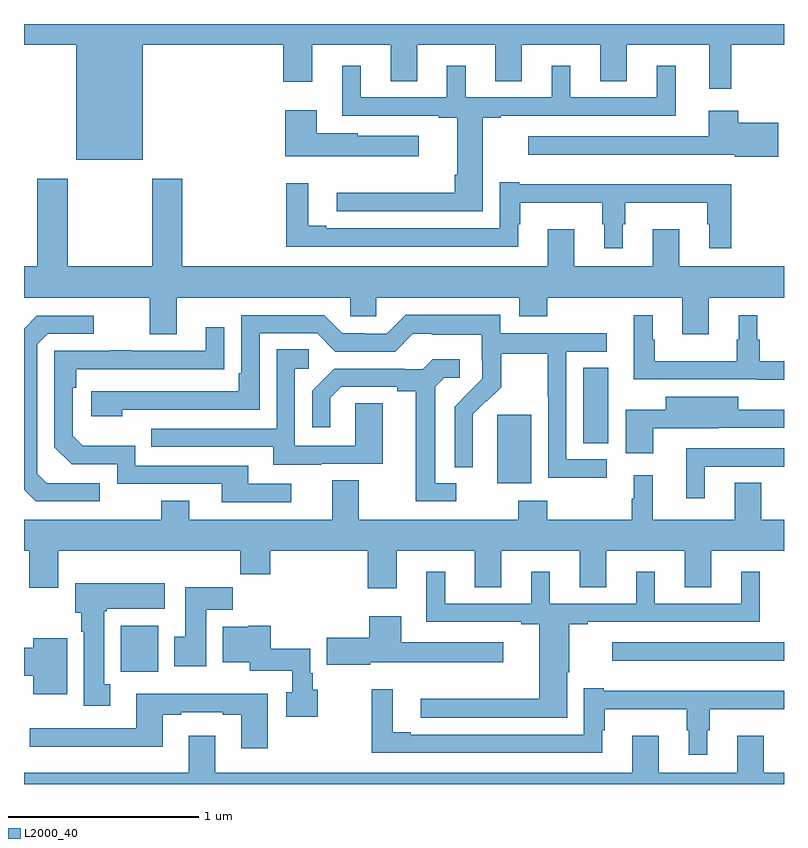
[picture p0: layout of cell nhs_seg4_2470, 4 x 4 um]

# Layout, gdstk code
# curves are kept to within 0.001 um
import gdstk
lib = gdstk.Library(unit=1e-6, precision=1e-09)
def R(c, l, rs):  # rectangles x0, y0, x1, y1
    for r in rs: c.add(gdstk.rectangle(r[:2], r[2:], *l))
def P(c, l, *ps):  # polygons
    for p in ps: c.add(gdstk.Polygon(p, *l))
L2000_40 = (2000, 40)

nhs_seg4_2470 = lib.new_cell('nhs_seg4_2470')
R(nhs_seg4_2470, L2000_40, [(239.51,821.492,239.707,821.734), (242.097,821.549,243,821.646), (241.49,822.482,241.669,822.843), (241.943,822.694,242.074,823.091)])
P(nhs_seg4_2470, L2000_40, [(239.626,824.792),(240.365,824.792),(240.365,824.595),(240.517,824.595),(240.517,824.792),(240.929,824.792),(240.929,824.599),(241.069,824.599),(241.069,824.792),(241.481,824.792),(241.481,824.599),(241.621,824.599),(241.621,824.792),(242.033,824.792),(242.033,824.599),(242.173,824.599),(242.173,824.792),(242.606,824.792),(242.606,824.559),(242.723,824.559),(242.723,824.792),(243,824.792),(243,824.9),(239,824.9),(239,824.792),(239.276,824.792),(239.276,824.186),(239.626,824.186)],
  [(241.414,824.406),(241.51,824.406),(241.51,824.418),(242.429,824.418),(242.429,824.68),(242.33,824.68),(242.33,824.514),(241.876,824.514),(241.876,824.68),(241.778,824.68),(241.778,824.514),(241.324,824.514),(241.324,824.68),(241.226,824.68),(241.226,824.514),(240.772,824.514),(240.772,824.68),(240.674,824.68),(240.674,824.418),(241.184,824.418),(241.184,824.406),(241.28,824.406),(241.28,824.107),(241.268,824.107),(241.268,824.012),(240.645,824.012),(240.645,823.914),(241.414,823.914)],
  [(241.078,824.311),(240.756,824.311),(240.756,824.326),(240.541,824.326),(240.541,824.446),(240.374,824.446),(240.374,824.204),(241.078,824.204)],
  [(242.971,824.379),(242.759,824.379),(242.759,824.443),(242.603,824.443),(242.603,824.31),(241.653,824.31),(241.653,824.213),(242.742,824.213),(242.742,824.201),(242.971,824.201)],
  [(239.803,823.46),(240.717,823.46),(240.717,823.362),(240.855,823.362),(240.855,823.46),(241.607,823.46),(241.607,823.361),(241.755,823.361),(241.755,823.46),(242.465,823.46),(242.465,823.266),(242.605,823.266),(242.605,823.46),(243,823.46),(243,823.624),(242.449,823.624),(242.449,823.819),(242.309,823.819),(242.309,823.624),(241.897,823.624),(241.897,823.819),(241.757,823.819),(241.757,823.624),(239.834,823.624),(239.834,824.086),(239.674,824.086),(239.674,823.624),(239.229,823.624),(239.229,824.086),(239.069,824.086),(239.069,823.624),(239,823.624),(239,823.46),(239.663,823.46),(239.663,823.266),(239.803,823.266)],
  [(242.152,823.847),(242.164,823.847),(242.164,823.958),(242.595,823.958),(242.595,823.847),(242.606,823.847),(242.606,823.719),(242.723,823.719),(242.723,824.056),(241.606,824.056),(241.606,824.068),(241.503,824.068),(241.503,823.824),(240.592,823.824),(240.592,823.837),(240.496,823.837),(240.496,824.062),(240.379,824.062),(240.379,823.728),(241.6,823.728),(241.6,823.847),(241.612,823.847),(241.612,823.958),(242.043,823.958),(242.043,823.847),(242.054,823.847),(242.054,823.719),(242.152,823.719)],
  [(242.068,822.609),(241.854,822.609),(241.854,823.176),(242.068,823.176),(242.068,823.272),(241.506,823.272),(241.506,823.369),(241.009,823.369),(240.909,823.269),(240.794,823.269),(240.794,823.272),(240.675,823.272),(240.579,823.368),(240.144,823.368),(240.144,823.063),(240.131,823.063),(240.131,822.966),(239.355,822.966),(239.355,822.836),(239.516,822.836),(239.516,822.87),(240.24,822.87),(240.24,823.272),(240.543,823.272),(240.639,823.176),(240.954,823.176),(241.047,823.269),(241.147,823.269),(241.147,823.265),(241.41,823.265),(241.41,823.131),(241.412,823.131),(241.412,823.034),(241.266,822.886),(241.266,822.568),(241.362,822.568),(241.361,822.845),(241.431,822.915),(241.434,822.912),(241.511,822.989),(241.511,823.164),(241.756,823.164),(241.756,822.94),(241.758,822.94),(241.758,822.511),(242.068,822.511)],
  [(243,823.126),(242.872,823.126),(242.872,823.238),(242.86,823.238),(242.86,823.366),(242.762,823.366),(242.762,823.238),(242.751,823.238),(242.751,823.126),(242.32,823.126),(242.32,823.238),(242.308,823.238),(242.308,823.366),(242.21,823.366),(242.21,823.029),(242.856,823.029),(242.856,823.028),(243,823.028)],
  [(239.398,822.483),(239.121,822.483),(239.07,822.534),(239.07,823.215),(239.124,823.269),(239.368,823.269),(239.368,823.365),(239.067,823.365),(239,823.297),(239,822.448),(239.061,822.387),(239.398,822.387)],
  [(240.406,822.48),(240.181,822.48),(240.181,822.576),(239.586,822.576),(239.586,822.679),(239.309,822.679),(239.256,822.732),(239.256,822.986),(239.276,822.986),(239.276,823.083),(240.053,823.084),(240.053,823.303),(239.957,823.303),(239.957,823.179),(239.567,823.179),(239.567,823.184),(239.455,823.184),(239.455,823.179),(239.16,823.179),(239.16,822.672),(239.25,822.582),(239.49,822.582),(239.49,822.48),(240.041,822.48),(240.041,822.384),(240.406,822.384)],
  [(240.565,822.585),(240.889,822.585),(240.889,822.905),(240.744,822.905),(240.744,822.681),(240.426,822.681),(240.426,823.086),(240.499,823.086),(240.499,823.187),(240.33,823.187),(240.33,822.771),(239.671,822.771),(239.671,822.675),(240.311,822.675),(240.311,822.581),(240.565,822.581)],
  [(241.276,822.483),(241.165,822.483),(241.165,822.991),(241.212,823.038),(241.294,823.038),(241.294,823.135),(241.15,823.135),(241.098,823.083),(241.004,823.083),(241.004,823.086),(240.632,823.086),(240.516,822.97),(240.516,822.777),(240.613,822.777),(240.613,822.933),(240.67,822.99),(240.965,822.99),(240.965,822.968),(241.061,822.968),(241.061,822.387),(241.276,822.387)],
  [(242.311,822.772),(242.654,822.772),(242.654,822.774),(243,822.774),(243,822.871),(242.758,822.871),(242.758,822.937),(242.378,822.937),(242.378,822.871),(242.168,822.871),(242.168,822.642),(242.311,822.642)],
  [(242.584,822.57),(243,822.57),(243,822.666),(242.486,822.666),(242.486,822.405),(242.584,822.405)],
  [(240.961,822.128),(241.373,822.128),(241.373,821.935),(241.513,821.935),(241.513,822.128),(241.925,822.128),(241.925,821.935),(242.065,821.935),(242.065,822.128),(242.477,822.128),(242.477,821.935),(242.617,821.935),(242.617,822.128),(243,822.128),(243,822.292),(242.881,822.292),(242.881,822.485),(242.741,822.485),(242.741,822.292),(242.309,822.292),(242.309,822.526),(242.21,822.526),(242.21,822.401),(242.199,822.401),(242.199,822.292),(241.755,822.292),(241.755,822.391),(241.6,822.391),(241.6,822.292),(240.763,822.292),(240.763,822.5),(240.623,822.5),(240.623,822.292),(239.869,822.292),(239.869,822.391),(239.722,822.391),(239.722,822.292),(239,822.292),(239,822.128),(239.027,822.128),(239.027,821.934),(239.179,821.934),(239.179,822.128),(240.139,822.128),(240.139,822.004),(240.296,822.004),(240.296,822.128),(240.809,822.128),(240.809,821.931),(240.961,821.931)],
  [(241.858,821.487),(241.87,821.487),(241.87,821.742),(241.966,821.742),(241.966,821.754),(242.873,821.754),(242.873,822.016),(242.774,822.016),(242.774,821.85),(242.32,821.85),(242.32,822.016),(242.222,822.016),(242.222,821.85),(241.768,821.85),(241.768,822.016),(241.67,822.016),(241.67,821.85),(241.216,821.85),(241.216,822.016),(241.118,822.016),(241.118,821.754),(241.616,821.754),(241.616,821.742),(241.712,821.742),(241.712,821.348),(241.089,821.348),(241.089,821.25),(241.858,821.25)],
  [(239.455,821.426),(239.422,821.426),(239.422,821.809),(239.436,821.809),(239.436,821.822),(239.74,821.822),(239.74,821.956),(239.27,821.956),(239.27,821.802),(239.3,821.802),(239.3,821.702),(239.315,821.702),(239.315,821.313),(239.455,821.313)],
  [(239.959,821.816),(240.098,821.816),(240.098,821.935),(239.849,821.935),(239.849,821.676),(239.792,821.676),(239.792,821.52),(239.959,821.52)],
  [(240.822,821.54),(241.522,821.54),(241.522,821.647),(240.985,821.647),(240.985,821.782),(240.818,821.782),(240.818,821.67),(240.594,821.67),(240.594,821.528),(240.822,821.528)],
  [(240.546,821.396),(240.52,821.396),(240.52,821.484),(240.507,821.484),(240.507,821.612),(240.298,821.612),(240.298,821.734),(240.18,821.734),(240.18,821.728),(240.047,821.728),(240.047,821.54),(240.188,821.54),(240.188,821.496),(240.411,821.496),(240.411,821.383),(240.38,821.383),(240.38,821.254),(240.546,821.254)],
  [(239.227,821.668),(239.048,821.668),(239.048,821.618),(239,821.618),(239,821.471),(239.048,821.471),(239.048,821.372),(239.227,821.372)],
  [(242.596,821.183),(242.608,821.183),(242.608,821.294),(243,821.294),(243,821.392),(242.05,821.392),(242.05,821.404),(241.947,821.404),(241.947,821.16),(241.036,821.16),(241.036,821.173),(240.94,821.173),(240.94,821.398),(240.831,821.398),(240.831,821.064),(242.044,821.064),(242.044,821.183),(242.056,821.183),(242.056,821.294),(242.487,821.294),(242.487,821.183),(242.498,821.183),(242.498,821.055),(242.596,821.055)],
  [(240.283,821.374),(239.591,821.374),(239.591,821.193),(239.031,821.193),(239.031,821.096),(239.731,821.096),(239.731,821.265),(239.827,821.265),(239.827,821.277),(240.047,821.277),(240.047,821.265),(240.143,821.265),(240.143,821.088),(240.283,821.088)],
  [(243,820.96),(242.893,820.96),(242.893,821.155),(242.753,821.155),(242.753,820.96),(242.341,820.96),(242.341,821.155),(242.201,821.155),(242.201,820.96),(240.007,820.96),(240.007,821.155),(239.867,821.155),(239.867,820.96),(239,820.96),(239,820.9),(243,820.9)])

lib.write_gds('nhs_seg4_2470.gds')
